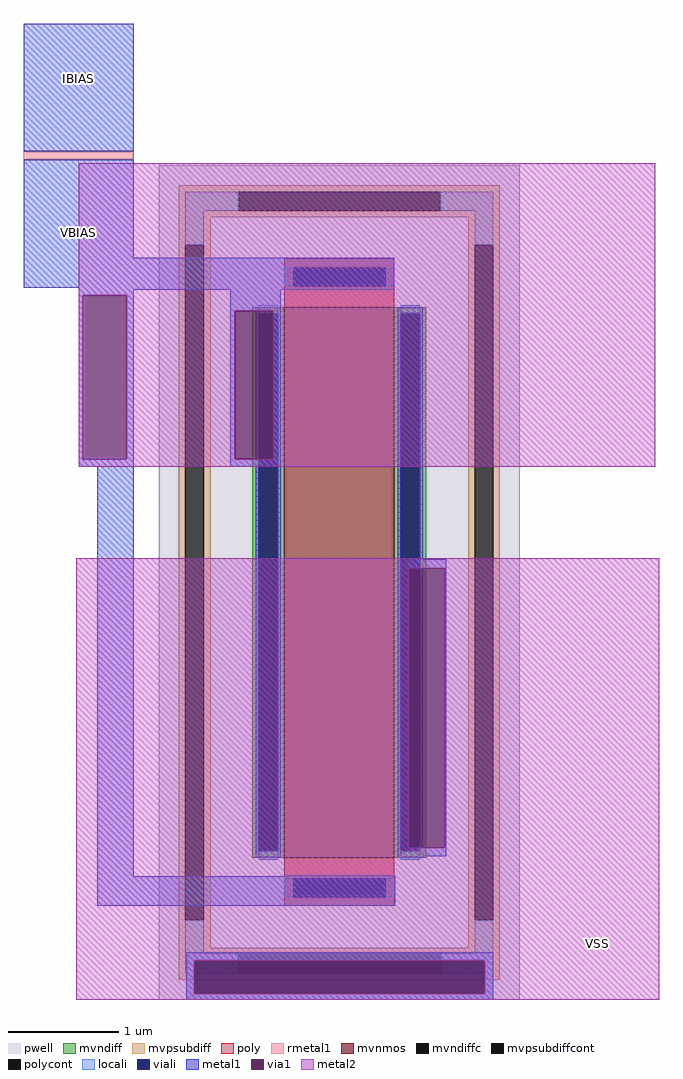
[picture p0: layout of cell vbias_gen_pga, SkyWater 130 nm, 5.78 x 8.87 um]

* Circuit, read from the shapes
.subckt vbias_gen_pga VBIAS IBIAS VSS
XM1 VSS VBIAS VBIAS VSS sky130_fd_pr__nfet_g5v0d10v5 w=5 l=1
R2 IBIAS VBIAS sky130_fd_pr__res_generic_m1 w=1 l=0.08
.ends

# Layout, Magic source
magic
tech sky130A
magscale 1 2
<< locali >>
rect -15 -795 543 -781
rect -15 -855 -1 -795
rect 527 -855 543 -795
rect -15 -865 543 -855
<< viali >>
rect -1 -855 527 -795
<< metal1 >>
rect -311 677 -111 909
rect -311 483 -111 661
rect -311 429 363 483
rect -211 425 363 429
rect -211 415 -111 425
rect -211 117 -203 415
rect -123 117 -111 415
rect -211 103 -111 117
rect 65 387 157 425
rect 65 117 73 387
rect 143 117 157 387
rect 65 103 157 117
rect -177 -641 -111 103
rect 387 -81 457 -65
rect 387 -589 389 -81
rect 455 -589 457 -81
rect 387 -605 457 -589
rect -177 -695 365 -641
rect -15 -795 543 -779
rect -15 -855 -1 -795
rect 527 -855 543 -795
rect -15 -865 543 -855
<< rmetal1 >>
rect -311 661 -111 677
<< via1 >>
rect -203 117 -123 415
rect 73 117 143 387
rect 389 -589 455 -81
rect -1 -855 527 -795
<< metal2 >>
rect -211 415 837 655
rect -211 117 -203 415
rect -123 387 837 415
rect -123 117 73 387
rect 143 117 837 387
rect -211 103 837 117
rect -215 -81 845 -63
rect -215 -589 389 -81
rect 455 -589 845 -81
rect -215 -795 845 -589
rect -215 -855 -1 -795
rect 527 -855 845 -795
rect -215 -865 845 -855
use sky130_fd_pr__nfet_g5v0d10v5_TZT4V2  XM4 paramcells
transform 1 0 263 0 1 -107
box -328 -758 328 758
<< labels >>
flabel metal2 633 -863 833 -663 0 FreeSans 256 0 0 0 VSS
port 2 nsew
flabel metal1 -311 429 -111 629 0 FreeSans 256 0 0 0 VBIAS
port 0 nsew
flabel metal1 -311 709 -111 909 0 FreeSans 256 0 0 0 IBIAS
port 1 nsew
<< end >>

# cell sky130_fd_pr__nfet_g5v0d10v5_TZT4V2: kit device sky130_fd_pr__nfet_g5v0d10v5, w 5.0 l 1.0 m 1 nf 1 diffcov 100 polycov 100 guard 1 glc 1 grc 1 gtc 1 gbc 1 tbcov 100 rlcov 100 topc 1 botc 1 poverlap 0 doverlap 1 lmin 0.50 wmin 0.42 class mosfet compatible {sky130_fd_pr__nfet_01v8 sky130_fd_pr__nfet_01v8_lvt sky130_fd_bs_flash__special_sonosfet_star sky130_fd_pr__nfet_g5v0d10v5 sky130_fd_pr__nfet_05v0_nvt sky130_fd_pr__nfet_03v3_nvt} full_metal 1 viasrc 100 viadrn 100 viagate 100 viagb 0 viagr 0 viagl 0 viagt 0 ad {int((nf+1)/2) * W/nf * 0.29} as {int((nf+2)/2) * W/nf * 0.29} pd {2*int((nf+1)/2) * (W/nf + 0.29)} ps {2*int((nf+2)/2) * (W/nf + 0.29)} nrd {0.29 / W} nrs {0.29 / W} sa 0 sb 0 sd 0 mult 1
